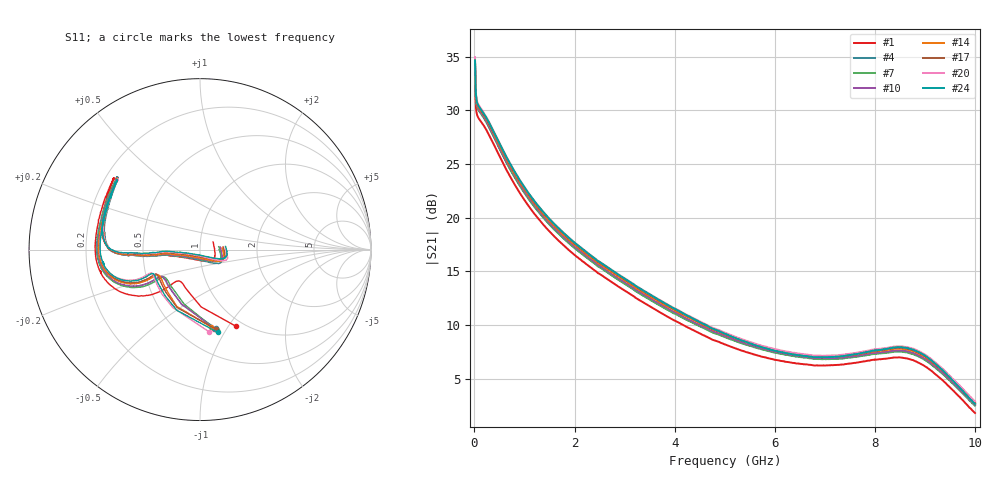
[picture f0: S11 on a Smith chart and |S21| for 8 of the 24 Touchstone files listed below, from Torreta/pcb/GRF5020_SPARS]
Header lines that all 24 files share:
# Hz S  dB  R 50
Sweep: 10 MHz to 10 GHz
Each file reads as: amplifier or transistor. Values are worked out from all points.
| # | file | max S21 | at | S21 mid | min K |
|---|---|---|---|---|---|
| 1 | 5020_5_70.s2p | 33.4 dB | 10 MHz | 8.2 dB at 5.01 GHz | 0.54 |
| 2 | 5020_5_90.s2p | 34.0 dB | 10 MHz | 8.5 dB at 5.01 GHz | 0.57 |
| 3 | 5020_5_110.s2p | 34.3 dB | 10 MHz | 8.7 dB at 5.01 GHz | 0.53 |
| 4 | 5020_5_130.s2p | 34.6 dB | 10 MHz | 8.9 dB at 5.01 GHz | 0.54 |
| 5 | 5020_6_75.s2p | 33.8 dB | 10 MHz | 8.4 dB at 5.01 GHz | 0.51 |
| 6 | 5020_6_95.s2p | 34.2 dB | 10 MHz | 8.7 dB at 5.01 GHz | 0.55 |
| 7 | 5020_6_115.s2p | 34.5 dB | 10 MHz | 8.9 dB at 5.01 GHz | 0.51 |
| 8 | 5020_6_135.s2p | 34.7 dB | 10 MHz | 9.0 dB at 5.01 GHz | 0.55 |
| 9 | 5020_7_105.s2p | 34.3 dB | 10 MHz | 8.8 dB at 5.01 GHz | 0.61 |
| 10 | 5020_7_125.s2p | 34.6 dB | 10 MHz | 9.0 dB at 5.01 GHz | 0.54 |
| 11 | 5020_7_145.s2p | 34.8 dB | 10 MHz | 9.1 dB at 5.01 GHz | 0.53 |
| 12 | 5020_7_165.s2p | 34.9 dB | 10 MHz | 9.2 dB at 5.01 GHz | 0.50 |
| 13 | 5020_8_130.s2p | 34.7 dB | 10 MHz | 9.0 dB at 5.01 GHz | 0.55 |
| 14 | 5020_8_150.s2p | 34.9 dB | 10 MHz | 9.1 dB at 5.01 GHz | 0.61 |
| 15 | 5020_8_170.s2p | 34.9 dB | 10 MHz | 9.2 dB at 5.01 GHz | 0.56 |
| 16 | 5020_8_190.s2p | 35.0 dB | 10 MHz | 9.2 dB at 5.01 GHz | 0.55 |
| 17 | 5020_10_160.s2p | 34.8 dB | 10 MHz | 9.2 dB at 5.01 GHz | 0.63 |
| 18 | 5020_10_180.s2p | 34.8 dB | 10 MHz | 9.2 dB at 5.01 GHz | 0.59 |
| 19 | 5020_10_200.s2p | 34.9 dB | 10 MHz | 9.2 dB at 5.01 GHz | 0.57 |
| 20 | 5020_10_220.s2p | 35.0 dB | 10 MHz | 9.3 dB at 5.01 GHz | 0.60 |
| 21 | 5020_12_130.s2p | 34.4 dB | 10 MHz | 9.0 dB at 5.01 GHz | 0.57 |
| 22 | 5020_12_150.s2p | 34.5 dB | 10 MHz | 9.1 dB at 5.01 GHz | 0.62 |
| 23 | 5020_12_170.s2p | 34.6 dB | 10 MHz | 9.2 dB at 5.01 GHz | 0.55 |
| 24 | 5020_12_190.s2p | 34.7 dB | 10 MHz | 9.2 dB at 5.01 GHz | 0.65 |
